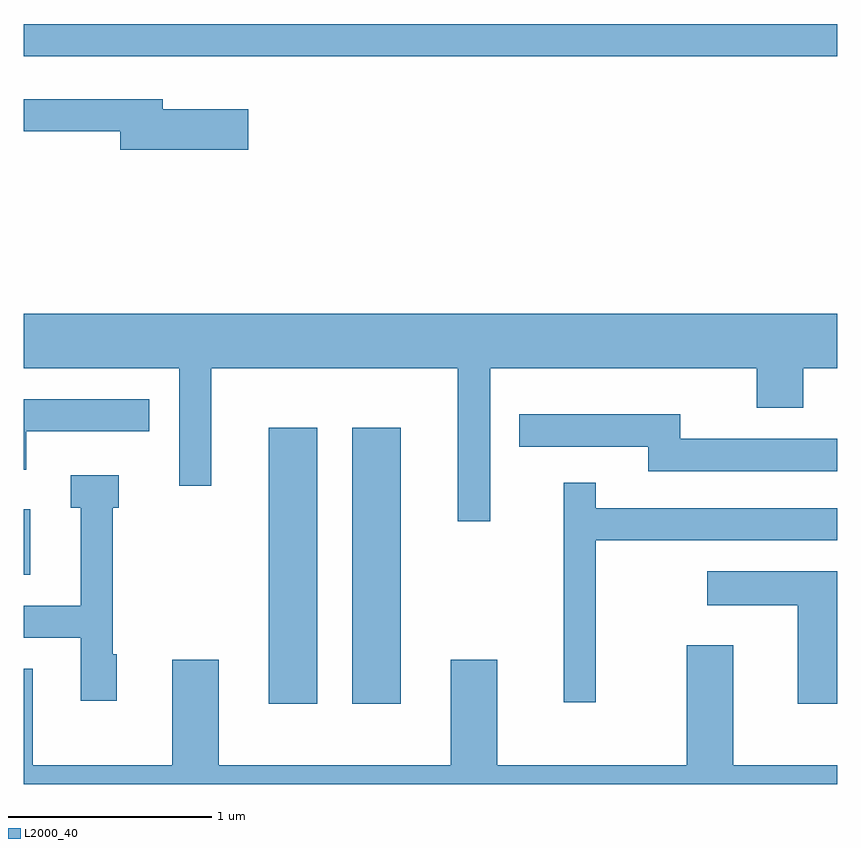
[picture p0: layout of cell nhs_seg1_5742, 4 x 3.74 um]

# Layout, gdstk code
import gdstk
lib = gdstk.Library(unit=1e-6, precision=1e-09)
def R(c, l, rs):  # rectangles x0, y0, x1, y1
    for r in rs: c.add(gdstk.rectangle(r[:2], r[2:], *l))
def P(c, l, *ps):  # polygons
    for p in ps: c.add(gdstk.Polygon(p, *l))
L2000_40 = (2000, 40)

nhs_seg1_5742 = lib.new_cell('nhs_seg1_5742')
R(nhs_seg1_5742, L2000_40, [(358.816,940.106,359.054,941.464), (359.226,940.106,359.464,941.464), (357.611,940.741,357.644,941.064), (357.611,943.291,361.611,943.449)])
P(nhs_seg1_5742, L2000_40, [(358.714,943.029),(358.294,943.029),(358.294,943.079),(357.611,943.079),(357.611,942.921),(358.086,942.921),(358.086,942.831),(358.714,942.831)],
  [(357.611,941.756),(358.376,941.756),(358.376,941.178),(358.534,941.178),(358.534,941.756),(359.746,941.756),(359.746,941.003),(359.904,941.003),(359.904,941.756),(361.216,941.756),(361.216,941.561),(361.444,941.561),(361.444,941.756),(361.611,941.756),(361.611,942.024),(357.611,942.024)],
  [(357.624,941.446),(358.228,941.446),(358.228,941.604),(357.611,941.604),(357.611,941.256),(357.624,941.256)],
  [(361.611,941.409),(360.839,941.409),(360.839,941.529),(360.048,941.529),(360.048,941.371),(360.681,941.371),(360.681,941.251),(361.611,941.251)],
  [(358.069,940.349),(358.049,940.349),(358.049,941.071),(358.079,941.071),(358.079,941.229),(357.843,941.229),(357.843,941.071),(357.891,941.071),(357.891,940.589),(357.611,940.589),(357.611,940.431),(357.891,940.431),(357.891,940.121),(358.069,940.121)],
  [(360.424,940.911),(361.611,940.911),(361.611,941.069),(360.424,941.069),(360.424,941.193),(360.266,941.193),(360.266,940.113),(360.424,940.113)],
  [(361.611,940.759),(360.973,940.759),(360.973,940.591),(361.416,940.591),(361.416,940.106),(361.611,940.106)],
  [(361.611,939.804),(361.099,939.804),(361.099,940.394),(360.871,940.394),(360.871,939.804),(359.939,939.804),(359.939,940.324),(359.711,940.324),(359.711,939.804),(358.569,939.804),(358.569,940.324),(358.341,940.324),(358.341,939.804),(357.654,939.804),(357.654,940.279),(357.611,940.279),(357.611,939.712),(361.611,939.712)])

lib.write_gds('nhs_seg1_5742.gds')
